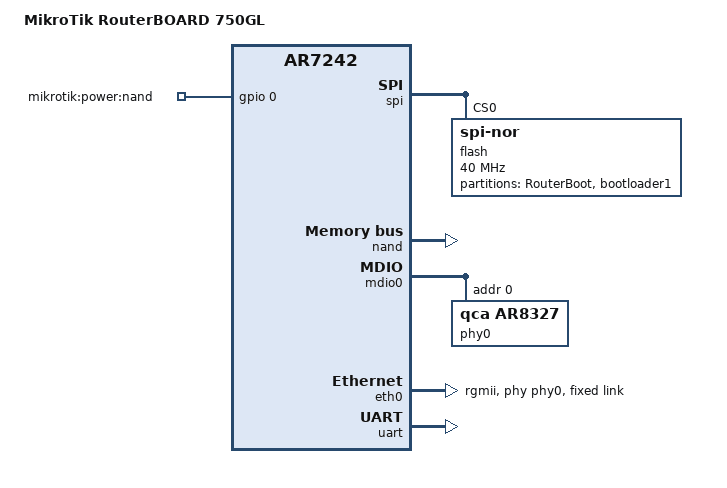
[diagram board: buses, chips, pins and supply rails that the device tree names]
// SPDX-License-Identifier: GPL-2.0-or-later OR MIT
/dts-v1/;

#include <dt-bindings/gpio/gpio.h>
#include <dt-bindings/input/input.h>

#include "ar7242.dtsi"

/ {
	compatible = "mikrotik,routerboard-750gl", "qca,ar7242";
	model = "MikroTik RouterBOARD 750GL";

	aliases {
		label-mac-device = &eth0;
/*		led-boot = &led_act;
		led-failsafe = &led_act;
		led-upgrade = &led_act;*/
		serial0 = &uart;
	};

	chosen {
		bootargs = "console=ttyS0,115200n8";
	};

	leds: leds {
		compatible = "gpio-leds";

/*		led_act: act {
			label = "mikrotik:green:act";
			gpios = <&gpio 11 GPIO_ACTIVE_LOW>;
		};*/
	};

	gpio-export {
		compatible = "gpio-export";

		gpio_nand_power {
			gpio-export,name = "mikrotik:power:nand";
			gpio-export,output = <1>;
			gpios = <&gpio 0 GPIO_ACTIVE_HIGH>;
		};
	};
};

&spi {
	status = "okay";

	cs-gpios = <0>, <0>;
	num-cs = <2>;

	flash@0 {
		compatible = "jedec,spi-nor";
		reg = <0>;
		spi-max-frequency = <40000000>;

		partitions {
			compatible = "fixed-partitions";
			#address-cells = <1>;
			#size-cells = <1>;

			partition@0 {
				label = "RouterBoot";
				reg = <0x0 0x10000>;
				read-only;
				compatible = "mikrotik,routerboot-partitions";
				#address-cells = <1>;
				#size-cells = <1>;

				partition@0 {
					label = "bootloader1";
					reg = <0x0 0x0>;
					read-only;
				};

				hard_config: hard_config {
					label = "hard_config";
					read-only;
				};

				bios {
					label = "bios";
					size = <0x1000>;
					read-only;
				};

				partition {
					label = "bootloader2";
					read-only;
				};

				soft_config {
					label = "soft_config";
				};
			};
		};
	};
};

&nand{
	status = "okay";

	partitions {
		compatible = "fixed-partitions";
		#address-cells = <1>;
		#size-cells = <1>;

		partition@0 {
			label = "booter";
			reg = <0x0000000 0x0040000>;
			read-only;
		};

		partition@40000 {
			label = "kernel";
			reg = <0x0040000 0x0800000>;
		};

		partition@400000 {
			label = "ubi";
			reg = <0x0840000 0x77c0000>;
		};
	};
};

&mdio0 {
	status = "okay";

	phy0: ethernet-switch@0 {
		compatible = "qca,ar8327";
		reg = <0x0>;

		qca,ar8327-initvals = <
			0x04 0x05100000 /* PORT0 PAD MODE CTRL */
			0x0c 0x05100000 /* PORT6 PAD MODE CTRL */
			0x50 0x40004000 /* LED_CTRL0 */
			0x54 0x40004000 /* LED_CTRL1 */
			0x58 0x40004000 /* LED_CTRL2 */
			0x5c 0x03ffff00 /* LED_CTRL3 */
			0x7c 0x0000007e /* PORT0_STATUS */
			0x94 0x0000007e /* PORT6_STATUS */
		>;
	};
};

&eth0 {
	status = "okay";

	phy-handle = <&phy0>;
	phy-mode = "rgmii";

	fixed-link {
		speed = <1000>;
		full-duplex;
	};
};

&uart {
	status = "okay";
};
